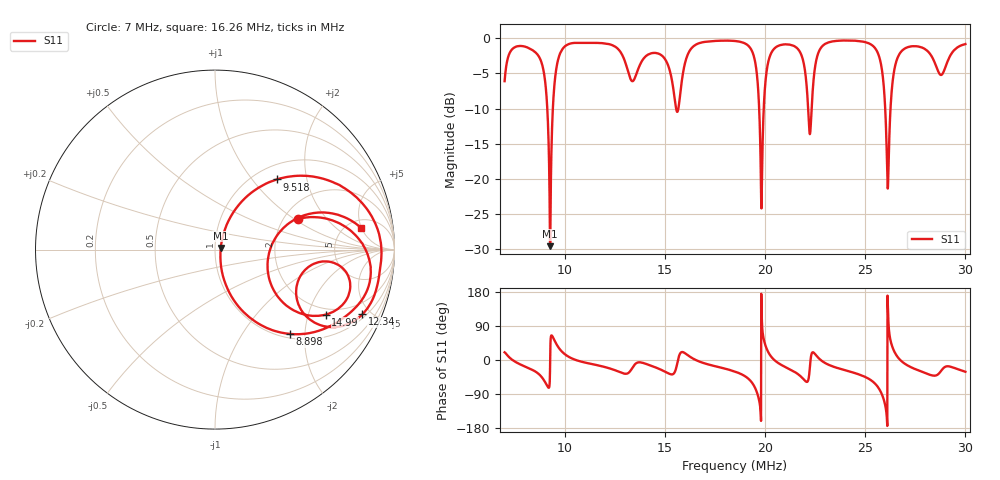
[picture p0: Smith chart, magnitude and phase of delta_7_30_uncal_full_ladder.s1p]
! Touchstone file generated by AntScope2
# MHz Z RI R 50
! Format: Frequency Z-real Z-imaginary (normalized to 50 Ohm)
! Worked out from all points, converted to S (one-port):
!   2001 points, 7 MHz to 30 MHz, reference 50 ohm
!   lowest |S11| = -29.6 dB at 9.277 MHz (marker M1), VSWR 1.07, Z = 53.3 + j0.97 ohm
!   |S11| at or under -10 dB: 9.13 MHz to 9.408 MHz (278.1 kHz wide, 3 % of centre); 19.71 MHz to 19.93 MHz (228.6 kHz wide, 1.15 % of centre); 26 MHz to 26.26 MHz (265.3 kHz wide, 1.02 % of centre)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
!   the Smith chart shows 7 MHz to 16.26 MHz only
!   S11 on the Smith chart (normalised r, x): 7 MHz: 2.39, +1.08; 8.898 MHz: 1.08, -1.69; 9.518 MHz: 1.25, +1.34; 12.34 MHz: 1.21, -4.45; 14.99 MHz: 1.76, -2.60; 16.26 MHz: 6.53, +4.90
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7  2.388 1.084
7.736  5.142 -7.325
8.8975  1.081 -1.685
9.277  1.066 0.0194
9.5185  1.249 1.337
9.875  2.159 4.251
12.336  1.211 -4.445
12.75  1.215 -3.048
13.6815  3.953 -0.8302
14.9925  1.758 -2.604
15.625  1.84 -0.147
16.2575  6.534 4.904
18.5  0.3268 -3.625
19.397  0.4322 -1.529
19.7305  0.737 -0.3656
20.0525  1.811 1.551
20.4895  12.2 -1.697
21.375  0.9304 -3.743
22.157  1.252 -0.6682
22.479  3.032 1.639
24.25  0.2652 -3.607
25.584  0.3278 -1.434
26.0095  0.656 -0.35
26.159  0.9404 0.2164
26.343  1.671 1.14
27.125  3.376 -5.837
28.6545  1.625 -1.686
30  0.6542 -3.485
